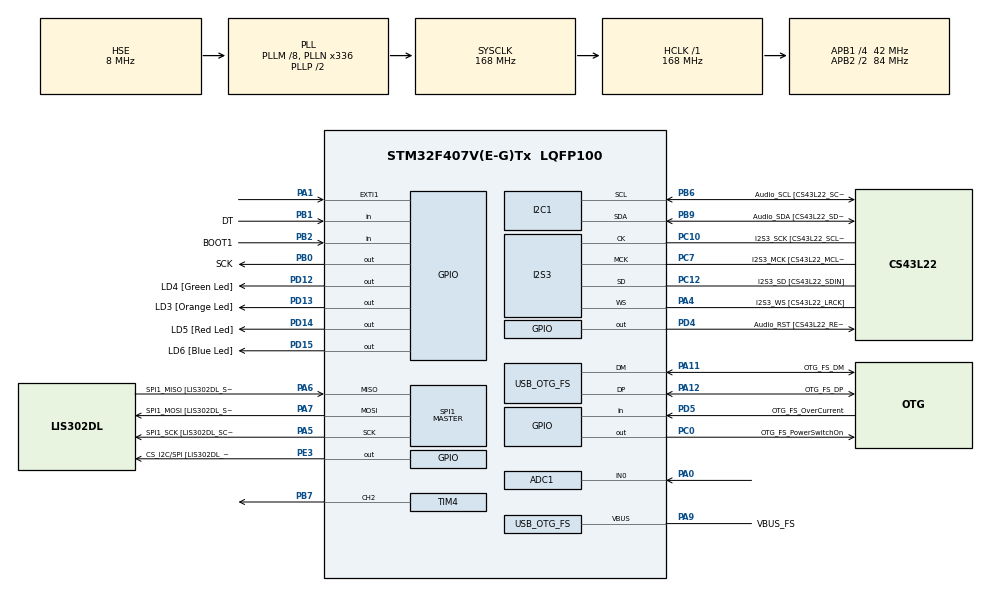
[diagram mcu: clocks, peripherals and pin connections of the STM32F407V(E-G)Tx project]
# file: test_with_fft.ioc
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ADC1.Channel-0\#ChannelRegularConversion=ADC_CHANNEL_0
ADC1.NbrOfConversionFlag=1
ADC1.Rank-0\#ChannelRegularConversion=1
ADC1.SamplingTime-0\#ChannelRegularConversion=ADC_SAMPLETIME_3CYCLES
ADC1.master=1
I2S3.AudioFreq-Half_Duplex_Master=I2S_AUDIOFREQ_96K
I2S3.ErrorAudioFreq=-2.34 %
I2S3.ErrorAudioFreq-Half_Duplex_Master=0.8 %
I2S3.FullDuplexMode=I2S_FULLDUPLEXMODE_DISABLE
I2S3.Instance=SPI$Index
I2S3.RealAudioFreq=93.75 KHz
I2S3.RealAudioFreq-Half_Duplex_Master=96.774 KHz
I2S3.VirtualMode=I2S_MODE_MASTER
Mcu.Family=STM32F4
Mcu.Name=STM32F407V(E-G)Tx
Mcu.Package=LQFP100
NVIC.EXTI1_IRQn=true\:0\:0\:false\:false\:true\:true\:true\:true
NVIC.OTG_FS_IRQn=true\:0\:0\:false\:false\:true\:true\:true\:true
NVIC.PriorityGroup=NVIC_PRIORITYGROUP_0
NVIC.TIM2_IRQn=true\:0\:0\:false\:false\:true\:true\:true\:true
PA0-WKUP.Signal=ADCx_IN0
PA1.Signal=GPXTI1
PA10.GPIO_Label=OTG_FS_ID
PA10.GPIO_Mode=GPIO_MODE_AF_PP
PA10.GPIO_PuPd=GPIO_NOPULL
PA10.GPIO_Speed=GPIO_SPEED_FREQ_LOW
PA10.Signal=USB_OTG_FS_ID
PA11.GPIO_Label=OTG_FS_DM
PA11.GPIO_Mode=GPIO_MODE_AF_PP
PA11.GPIO_PuPd=GPIO_NOPULL
PA11.GPIO_Speed=GPIO_SPEED_FREQ_LOW
PA11.Mode=Device_Only
PA11.Signal=USB_OTG_FS_DM
PA12.GPIO_Label=OTG_FS_DP
PA12.GPIO_Mode=GPIO_MODE_AF_PP
PA12.GPIO_PuPd=GPIO_NOPULL
PA12.GPIO_Speed=GPIO_SPEED_FREQ_LOW
PA12.Mode=Device_Only
PA12.Signal=USB_OTG_FS_DP
PA13.GPIO_Label=SWDIO
PA13.Mode=Serial_Wire
PA13.Signal=SYS_JTMS-SWDIO
PA14.GPIO_Label=SWCLK
PA14.Mode=Serial_Wire
PA14.Signal=SYS_JTCK-SWCLK
PA4.GPIO_Label=I2S3_WS [CS43L22_LRCK]
PA4.GPIO_Mode=GPIO_MODE_AF_PP
PA4.GPIO_PuPd=GPIO_NOPULL
PA4.GPIO_Speed=GPIO_SPEED_FREQ_LOW
PA4.Mode=Half_Duplex_Master
PA4.Signal=I2S3_WS
PA5.GPIO_Label=SPI1_SCK [LIS302DL_SCL/SPC]
PA5.GPIO_Mode=GPIO_MODE_AF_PP
PA5.GPIO_PuPd=GPIO_NOPULL
PA5.GPIO_Speed=GPIO_SPEED_FREQ_LOW
PA5.Mode=Full_Duplex_Master
PA5.Signal=SPI1_SCK
PA6.GPIO_Label=SPI1_MISO [LIS302DL_SDO]
PA6.GPIO_Mode=GPIO_MODE_AF_PP
PA6.GPIO_PuPd=GPIO_NOPULL
PA6.GPIO_Speed=GPIO_SPEED_FREQ_LOW
PA6.Mode=Full_Duplex_Master
PA6.Signal=SPI1_MISO
PA7.GPIO_Label=SPI1_MOSI [LIS302DL_SDA/SDI/SDO]
PA7.GPIO_Mode=GPIO_MODE_AF_PP
PA7.GPIO_PuPd=GPIO_NOPULL
PA7.GPIO_Speed=GPIO_SPEED_FREQ_LOW
PA7.Mode=Full_Duplex_Master
PA7.Signal=SPI1_MOSI
PA9.GPIO_Label=VBUS_FS
PA9.GPIO_Mode=GPIO_MODE_INPUT
PA9.GPIO_PuPd=GPIO_NOPULL
PA9.Mode=Activate_VBUS
PA9.Signal=USB_OTG_FS_VBUS
PB0.GPIO_Label=SCK
PB0.Signal=GPIO_Output
PB1.GPIO_Label=DT
PB1.Signal=GPIO_Input
PB10.GPIO_Label=CLK_IN [MP45DT02_CLK]
PB10.GPIO_Mode=GPIO_MODE_AF_PP
PB10.GPIO_PuPd=GPIO_NOPULL
PB10.GPIO_Speed=GPIO_SPEED_FREQ_LOW
PB10.Signal=I2S2_CK
PB2.GPIO_Label=BOOT1
PB2.GPIO_Mode=GPIO_MODE_INPUT
PB2.GPIO_PuPd=GPIO_NOPULL
PB2.Signal=GPIO_Input
PB3.GPIO_Label=SWO
PB3.Signal=SYS_JTDO-SWO
PB6.GPIO_Label=Audio_SCL [CS43L22_SCL]
PB6.GPIO_Mode=GPIO_MODE_AF_OD
PB6.GPIO_Pu=GPIO_PULLUP
PB6.GPIO_PuPd=GPIO_NOPULL
PB6.GPIO_Speed=GPIO_SPEED_FREQ_LOW
PB6.Mode=I2C
PB6.Signal=I2C1_SCL
PB7.Signal=S_TIM4_CH2
PB9.GPIO_Label=Audio_SDA [CS43L22_SDA]
PB9.GPIO_Mode=GPIO_MODE_AF_OD
PB9.GPIO_Pu=GPIO_PULLUP
PB9.GPIO_PuPd=GPIO_NOPULL
PB9.GPIO_Speed=GPIO_SPEED_FREQ_LOW
PB9.Mode=I2C
PB9.Signal=I2C1_SDA
PC0.GPIO_Label=OTG_FS_PowerSwitchOn
PC0.GPIO_PuPd=GPIO_NOPULL
PC0.GPIO_Speed=GPIO_SPEED_FREQ_LOW
PC0.PinState=GPIO_PIN_SET
PC0.Signal=GPIO_Output
PC10.GPIO_Label=I2S3_SCK [CS43L22_SCLK]
PC10.GPIO_Mode=GPIO_MODE_AF_PP
PC10.GPIO_PuPd=GPIO_NOPULL
PC10.GPIO_Speed=GPIO_SPEED_FREQ_LOW
PC10.Mode=Half_Duplex_Master
PC10.Signal=I2S3_CK
PC12.GPIO_Label=I2S3_SD [CS43L22_SDIN]
PC12.GPIO_Mode=GPIO_MODE_AF_PP
PC12.GPIO_PuPd=GPIO_NOPULL
PC12.GPIO_Speed=GPIO_SPEED_FREQ_LOW
PC12.Mode=Half_Duplex_Master
PC12.Signal=I2S3_SD
PC14-OSC32_IN.GPIO_Label=PC14-OSC32_IN
PC14-OSC32_IN.Mode=LSE-External-Oscillator
PC14-OSC32_IN.Signal=RCC_OSC32_IN
PC15-OSC32_OUT.GPIO_Label=PC15-OSC32_OUT
PC15-OSC32_OUT.Mode=LSE-External-Oscillator
PC15-OSC32_OUT.Signal=RCC_OSC32_OUT
PC3.GPIO_Label=PDM_OUT [MP45DT02_DOUT]
PC3.GPIO_Mode=GPIO_MODE_AF_PP
PC3.GPIO_PuPd=GPIO_NOPULL
PC3.GPIO_Speed=GPIO_SPEED_FREQ_LOW
PC3.Signal=I2S2_SD
PC7.GPIO_Label=I2S3_MCK [CS43L22_MCLK]
PC7.GPIO_Mode=GPIO_MODE_AF_PP
PC7.GPIO_PuPd=GPIO_NOPULL
PC7.GPIO_Speed=GPIO_SPEED_FREQ_LOW
PC7.Mode=Master_Clock_Activated
PC7.Signal=I2S3_MCK
PD12.GPIO_Label=LD4 [Green Led]
PD12.GPIO_PuPd=GPIO_NOPULL
PD12.GPIO_Speed=GPIO_SPEED_FREQ_LOW
PD12.Signal=GPIO_Output
PD13.GPIO_Label=LD3 [Orange Led]
PD13.GPIO_PuPd=GPIO_NOPULL
PD13.GPIO_Speed=GPIO_SPEED_FREQ_LOW
PD13.Signal=GPIO_Output
PD14.GPIO_Label=LD5 [Red Led]
PD14.GPIO_PuPd=GPIO_NOPULL
PD14.GPIO_Speed=GPIO_SPEED_FREQ_LOW
PD14.Signal=GPIO_Output
PD15.GPIO_Label=LD6 [Blue Led]
PD15.GPIO_PuPd=GPIO_NOPULL
PD15.GPIO_Speed=GPIO_SPEED_FREQ_LOW
PD15.Signal=GPIO_Output
PD4.GPIO_Label=Audio_RST [CS43L22_RESET]
PD4.GPIO_PuPd=GPIO_NOPULL
PD4.GPIO_Speed=GPIO_SPEED_FREQ_LOW
PD4.Signal=GPIO_Output
PD5.GPIO_Label=OTG_FS_OverCurrent
PD5.GPIO_Mode=GPIO_MODE_INPUT
PD5.GPIO_PuPd=GPIO_NOPULL
PD5.Signal=GPIO_Input
PE3.GPIO_Label=CS_I2C/SPI [LIS302DL_CS_I2C/SPI]
PE3.GPIO_PuPd=GPIO_NOPULL
PE3.GPIO_Speed=GPIO_SPEED_FREQ_LOW
PE3.Signal=GPIO_Output
PH0-OSC_IN.GPIO_Label=PH0-OSC_IN
PH0-OSC_IN.Mode=HSE-External-Oscillator
PH0-OSC_IN.Signal=RCC_OSC_IN
PH1-OSC_OUT.GPIO_Label=PH1-OSC_OUT
PH1-OSC_OUT.Mode=HSE-External-Oscillator
PH1-OSC_OUT.Signal=RCC_OSC_OUT
ProjectManager.HeapSize=0x200
ProjectManager.StackSize=0x400
ProjectManager.TargetToolchain=STM32CubeIDE
RCC.48MHZClocksFreq_Value=48000000
RCC.AHBFreq_Value=168000000
RCC.APB1CLKDivider=RCC_HCLK_DIV4
RCC.APB1Freq_Value=42000000
RCC.APB1TimFreq_Value=84000000
RCC.APB2CLKDivider=RCC_HCLK_DIV2
RCC.APB2Freq_Value=84000000
RCC.APB2TimFreq_Value=168000000
RCC.CortexFreq_Value=168000000
RCC.HCLKFreq_Value=168000000
RCC.HSE_VALUE=8000000
RCC.HSI_VALUE=16000000
RCC.PLLM=8
RCC.PLLN=336
RCC.PLLQ=7
RCC.SYSCLKFreq_VALUE=168000000
RCC.SYSCLKSource=RCC_SYSCLKSOURCE_PLLCLK
RCC.VCOOutputFreq_Value=336000000
SH.ADCx_IN0.0=ADC1_IN0,IN0
SH.S_TIM4_CH2.0=TIM4_CH2,PWM Generation2 CH2
SPI1.BaudRatePrescaler-Full_Duplex_Master=SPI_BAUDRATEPRESCALER_2
SPI1.CalculateBaudRate-Full_Duplex_Master=42.0 MBits/s
SPI1.Direction=SPI_DIRECTION_2LINES
SPI1.Mode=SPI_MODE_MASTER
SPI1.Mode-Full_Duplex_Master=SPI_MODE_MASTER
SPI1.VirtualType=VM_MASTER
TIM2.Period=9999
TIM2.Prescaler=8399
TIM4.Channel-PWM\ Generation2\ CH2=TIM_CHANNEL_2
TIM4.Period=20000 - 1
TIM4.Prescaler=84 - 1
USB_DEVICE.CLASS_NAME_FS=CDC
USB_DEVICE.PRODUCT_STRING_CDC_FS=STM32 VirtuaPort
USB_DEVICE.VirtualMode-CDC_FS=Cdc
USB_DEVICE.VirtualModeFS=Cdc_FS
USB_OTG_FS.VirtualMode=Device_Only
VP_TIM2_VS_ClockSourceINT.Mode=Internal
VP_USB_DEVICE_VS_USB_DEVICE_CDC_FS.Mode=CDC_FS
board=STM32F407G-DISC1

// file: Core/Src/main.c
/* USER CODE BEGIN Header */

/* USER CODE END Header */
#include "main.h"
#include "usb_device.h"

/* USER CODE BEGIN Includes */
#include <sys/stat.h>
#include <stdint.h>
#include <stdio.h>
#include <math.h>
#include "arm_math.h"  // CMSIS DSP için gerekli
#include <stdlib.h>    // For atoi
#include "usbd_cdc_if.h"

/* USER CODE END Includes */

/* USER CODE BEGIN PD */
#define SAMPLE_COUNT 10  // 10 örnek üzerinden RMS hesaplayacağız
uint32_t vibrationSamples[SAMPLE_COUNT];
float32_t vibrationSamples_f32[SAMPLE_COUNT];  // Float versiyon
float rms_value = 0;  // RMS değeri

volatile uint32_t count = 0;  // RPM sayaç
volatile uint32_t rpm = 0;    // Hesaplanan RPM

uint16_t escPulseWidth = 1000;  // Default ESC pulse width (neutral throttle)
extern uint32_t received_number;
extern uint32_t flagged_number;

float weight = 0;
float thrust = 0;

/* USER CODE END PV */
/* USER CODE END PD */

ADC_HandleTypeDef hadc1;

I2C_HandleTypeDef hi2c1;

I2S_HandleTypeDef hi2s3;

SPI_HandleTypeDef hspi1;

TIM_HandleTypeDef htim2;
TIM_HandleTypeDef htim4;

void SystemClock_Config(void);
static void MX_GPIO_Init(void);
static void MX_I2C1_Init(void);
static void MX_I2S3_Init(void);
static void MX_SPI1_Init(void);
static void MX_ADC1_Init(void);
static void MX_TIM2_Init(void);
static void MX_TIM4_Init(void);
/* USER CODE BEGIN PFP */
uint16_t MapInputToPulseWidth(uint8_t input);
/* USER CODE END PFP */

/* USER CODE BEGIN 0 */

uint16_t MapInputToPulseWidth(uint8_t input)
{
	if (input > 100) input = 100;
	if (input < 0) input = 0;
    return 1100 + (input * 10); // Map 0-100 to 1000-2000 µs
}

int _write(int file, char *ptr, int len)
{
    int DataIdx;
    for (DataIdx = 0; DataIdx < len; DataIdx++)
    {
        ITM_SendChar(*ptr++);
    }
    return len;
}
/*
 Terminalden göndermek için
int _write(int file, char *ptr, int len) {
    uint8_t result;
    do {
        result = CDC_Transmit_FS((uint8_t*)ptr, len); // USB CDC üzerinden gönder
    } while (result == USBD_BUSY); // USB tampon doluysa bekle
    return len;
}
*/

long HX711_Read(void) {
    long count = 0;
    HAL_GPIO_WritePin(SCK_GPIO_Port, SCK_Pin, GPIO_PIN_RESET);  // SCK pinini 0 yapın
    while(HAL_GPIO_ReadPin(DT_GPIO_Port, DT_Pin));  // DT pini 0 olana kadar bekleyin

    for(int i = 0; i < 24; i++) {  // 24 bit veri oku
        HAL_GPIO_WritePin(SCK_GPIO_Port, SCK_Pin, GPIO_PIN_SET);
        count = count << 1;
        HAL_GPIO_WritePin(SCK_GPIO_Port, SCK_Pin, GPIO_PIN_RESET);
        if(HAL_GPIO_ReadPin(DT_GPIO_Port, DT_Pin)) {
            count++;
        }
    }

    HAL_GPIO_WritePin(SCK_GPIO_Port, SCK_Pin, GPIO_PIN_SET);
    count = count ^ 0x800000;  // 24. bit işaret biti olarak kabul edilir, negatif değerler için kullanılır
    HAL_GPIO_WritePin(SCK_GPIO_Port, SCK_Pin, GPIO_PIN_RESET);

    return count;
}

/* USER CODE END 0 */

int main(void)
{

  /* MCU Configuration--------------------------------------------------------*/

  /* Reset of all peripherals, Initializes the Flash interface and the Systick. */
  HAL_Init();

  /* Configure the system clock */
  SystemClock_Config();

  /* Initialize all configured peripherals */
  MX_GPIO_Init();
  MX_I2C1_Init();
  MX_I2S3_Init();
  MX_SPI1_Init();
  MX_ADC1_Init();
  MX_TIM2_Init();
  MX_TIM4_Init();
  MX_USB_DEVICE_Init();
  /* USER CODE BEGIN 2 */
  HAL_TIM_PWM_Start(&htim4, TIM_CHANNEL_2);  // Start PWM for TIM4_CH2 (PB7)

  HAL_ADC_Start(&hadc1);
  HAL_TIM_Base_Start_IT(&htim2);

  long tare = HX711_Read(); // Boş load cell üzerindeyken ham veri oku
  float calibrationFactor = 201.685272;

   // Kalibrasyon adımları
  /*tare = HX711_Read(); // Boş load cell üzerindeyken ham veri oku
   printf("Tare: %ld\n", tare);

   long hamVeri = HX711_Read(); // Kalibrasyon ağırlığı yerleştirildikten sonra ham veriyi oku
   float bilinenAgirlik = 228.45; // Örneğin 228.45 gramlık bir ağırlık

   calibrationFactor = (hamVeri - tare) / bilinenAgirlik;
   printf("Kalibrasyon Faktörü: %.2f\n", calibrationFactor);*/

  /* USER CODE END 2 */

  /* Infinite loop */
  while (1)
  {

    /* USER CODE BEGIN 3 */

		if (flagged_number == 1) {
		  escPulseWidth = MapInputToPulseWidth(received_number);
		  printf("Yeni Gaz Yuzdesi Girildi: %lu\n",received_number);
		  __HAL_TIM_SET_COMPARE(&htim4, TIM_CHANNEL_2, escPulseWidth);
		  flagged_number = 0; // Clear the number after processing
		}

	    // Calculate RMS value
	    float sum = 0;
	    for (int i = 0; i < SAMPLE_COUNT; i++)
	    {
	        HAL_ADC_Start(&hadc1);  // Start ADC
	        HAL_ADC_PollForConversion(&hadc1, HAL_MAX_DELAY);  // Wait for conversion
	        float sample = (float32_t)HAL_ADC_GetValue(&hadc1);  // Get ADC value
	        sum += (sample - rms_value) * (sample - rms_value);  // Incremental RMS calculation
	        rms_value += (sample - rms_value) / SAMPLE_COUNT;  // Moving average
	        HAL_Delay(10);  // Small delay between samples
	    }

	    // Calculate RMS
	    rms_value = sqrt(sum / SAMPLE_COUNT);

	    long rawData = HX711_Read();
	    weight = ((rawData - tare) / calibrationFactor);
	    thrust = (weight / 1000) * 9.81;

	    printf("RMS: %.2f, Weight: %.2f g, Thrust: %.2f N, RPM: %lu\n",
	           rms_value, weight, thrust, rpm);
	  }

  /* USER CODE END 3 */
}

void SystemClock_Config(void)
{
  RCC_OscInitTypeDef RCC_OscInitStruct = {0};
  RCC_ClkInitTypeDef RCC_ClkInitStruct = {0};

  /** Configure the main internal regulator output voltage
  */
  __HAL_RCC_PWR_CLK_ENABLE();
  __HAL_PWR_VOLTAGESCALING_CONFIG(PWR_REGULATOR_VOLTAGE_SCALE1);

  /** Initializes the RCC Oscillators according to the specified parameters
  * in the RCC_OscInitTypeDef structure.
  */
  RCC_OscInitStruct.OscillatorType = RCC_OSCILLATORTYPE_HSE;
  RCC_OscInitStruct.HSEState = RCC_HSE_ON;
  RCC_OscInitStruct.PLL.PLLState = RCC_PLL_ON;
  RCC_OscInitStruct.PLL.PLLSource = RCC_PLLSOURCE_HSE;
  RCC_OscInitStruct.PLL.PLLM = 8;
  RCC_OscInitStruct.PLL.PLLN = 336;
  RCC_OscInitStruct.PLL.PLLP = RCC_PLLP_DIV2;
  RCC_OscInitStruct.PLL.PLLQ = 7;
  if (HAL_RCC_OscConfig(&RCC_OscInitStruct) != HAL_OK)
  {
    Error_Handler();
  }

  /** Initializes the CPU, AHB and APB buses clocks
  */
  RCC_ClkInitStruct.ClockType = RCC_CLOCKTYPE_HCLK|RCC_CLOCKTYPE_SYSCLK
                              |RCC_CLOCKTYPE_PCLK1|RCC_CLOCKTYPE_PCLK2;
  RCC_ClkInitStruct.SYSCLKSource = RCC_SYSCLKSOURCE_PLLCLK;
  RCC_ClkInitStruct.AHBCLKDivider = RCC_SYSCLK_DIV1;
  RCC_ClkInitStruct.APB1CLKDivider = RCC_HCLK_DIV4;
  RCC_ClkInitStruct.APB2CLKDivider = RCC_HCLK_DIV2;

  if (HAL_RCC_ClockConfig(&RCC_ClkInitStruct, FLASH_LATENCY_5) != HAL_OK)
  {
    Error_Handler();
  }
}

static void MX_ADC1_Init(void)
{

  ADC_ChannelConfTypeDef sConfig = {0};

  /** Configure the global features of the ADC (Clock, Resolution, Data Alignment and number of conversion)
  */
  hadc1.Instance = ADC1;
  hadc1.Init.ClockPrescaler = ADC_CLOCK_SYNC_PCLK_DIV4;
  hadc1.Init.Resolution = ADC_RESOLUTION_12B;
  hadc1.Init.ScanConvMode = DISABLE;
  hadc1.Init.ContinuousConvMode = DISABLE;
  hadc1.Init.DiscontinuousConvMode = DISABLE;
  hadc1.Init.ExternalTrigConvEdge = ADC_EXTERNALTRIGCONVEDGE_NONE;
  hadc1.Init.ExternalTrigConv = ADC_SOFTWARE_START;
  hadc1.Init.DataAlign = ADC_DATAALIGN_RIGHT;
  hadc1.Init.NbrOfConversion = 1;
  hadc1.Init.DMAContinuousRequests = DISABLE;
  hadc1.Init.EOCSelection = ADC_EOC_SINGLE_CONV;
  if (HAL_ADC_Init(&hadc1) != HAL_OK)
  {
    Error_Handler();
  }

  /** Configure for the selected ADC regular channel its corresponding rank in the sequencer and its sample time.
  */
  sConfig.Channel = ADC_CHANNEL_0;
  sConfig.Rank = 1;
  sConfig.SamplingTime = ADC_SAMPLETIME_3CYCLES;
  if (HAL_ADC_ConfigChannel(&hadc1, &sConfig) != HAL_OK)
  {
    Error_Handler();
  }

}

static void MX_I2C1_Init(void)
{

  hi2c1.Instance = I2C1;
  hi2c1.Init.ClockSpeed = 100000;
  hi2c1.Init.DutyCycle = I2C_DUTYCYCLE_2;
  hi2c1.Init.OwnAddress1 = 0;
  hi2c1.Init.AddressingMode = I2C_ADDRESSINGMODE_7BIT;
  hi2c1.Init.DualAddressMode = I2C_DUALADDRESS_DISABLE;
  hi2c1.Init.OwnAddress2 = 0;
  hi2c1.Init.GeneralCallMode = I2C_GENERALCALL_DISABLE;
  hi2c1.Init.NoStretchMode = I2C_NOSTRETCH_DISABLE;
  if (HAL_I2C_Init(&hi2c1) != HAL_OK)
  {
    Error_Handler();
  }

}

static void MX_I2S3_Init(void)
{

  hi2s3.Instance = SPI3;
  hi2s3.Init.Mode = I2S_MODE_MASTER_TX;
  hi2s3.Init.Standard = I2S_STANDARD_PHILIPS;
  hi2s3.Init.DataFormat = I2S_DATAFORMAT_16B;
  hi2s3.Init.MCLKOutput = I2S_MCLKOUTPUT_ENABLE;
  hi2s3.Init.AudioFreq = I2S_AUDIOFREQ_96K;
  hi2s3.Init.CPOL = I2S_CPOL_LOW;
  hi2s3.Init.ClockSource = I2S_CLOCK_PLL;
  hi2s3.Init.FullDuplexMode = I2S_FULLDUPLEXMODE_DISABLE;
  if (HAL_I2S_Init(&hi2s3) != HAL_OK)
  {
    Error_Handler();
  }

}

static void MX_SPI1_Init(void)
{

  /* SPI1 parameter configuration*/
  hspi1.Instance = SPI1;
  hspi1.Init.Mode = SPI_MODE_MASTER;
  hspi1.Init.Direction = SPI_DIRECTION_2LINES;
  hspi1.Init.DataSize = SPI_DATASIZE_8BIT;
  hspi1.Init.CLKPolarity = SPI_POLARITY_LOW;
  hspi1.Init.CLKPhase = SPI_PHASE_1EDGE;
  hspi1.Init.NSS = SPI_NSS_SOFT;
  hspi1.Init.BaudRatePrescaler = SPI_BAUDRATEPRESCALER_2;
  hspi1.Init.FirstBit = SPI_FIRSTBIT_MSB;
  hspi1.Init.TIMode = SPI_TIMODE_DISABLE;
  hspi1.Init.CRCCalculation = SPI_CRCCALCULATION_DISABLE;
  hspi1.Init.CRCPolynomial = 10;
  if (HAL_SPI_Init(&hspi1) != HAL_OK)
  {
    Error_Handler();
  }

}

static void MX_TIM2_Init(void)
{

  TIM_ClockConfigTypeDef sClockSourceConfig = {0};
  TIM_MasterConfigTypeDef sMasterConfig = {0};

  htim2.Instance = TIM2;
  htim2.Init.Prescaler = 8399;
  htim2.Init.CounterMode = TIM_COUNTERMODE_UP;
  htim2.Init.Period = 9999;
  htim2.Init.ClockDivision = TIM_CLOCKDIVISION_DIV1;
  htim2.Init.AutoReloadPreload = TIM_AUTORELOAD_PRELOAD_DISABLE;
  if (HAL_TIM_Base_Init(&htim2) != HAL_OK)
  {
    Error_Handler();
  }
  sClockSourceConfig.ClockSource = TIM_CLOCKSOURCE_INTERNAL;
  if (HAL_TIM_ConfigClockSource(&htim2, &sClockSourceConfig) != HAL_OK)
  {
    Error_Handler();
  }
  sMasterConfig.MasterOutputTrigger = TIM_TRGO_RESET;
  sMasterConfig.MasterSlaveMode = TIM_MASTERSLAVEMODE_DISABLE;
  if (HAL_TIMEx_MasterConfigSynchronization(&htim2, &sMasterConfig) != HAL_OK)
  {
    Error_Handler();
  }

}

static void MX_TIM4_Init(void)
{

  TIM_MasterConfigTypeDef sMasterConfig = {0};
  TIM_OC_InitTypeDef sConfigOC = {0};

  htim4.Instance = TIM4;
  htim4.Init.Prescaler = 84 - 1;
  htim4.Init.CounterMode = TIM_COUNTERMODE_UP;
  htim4.Init.Period = 20000 - 1;
  htim4.Init.ClockDivision = TIM_CLOCKDIVISION_DIV1;
  htim4.Init.AutoReloadPreload = TIM_AUTORELOAD_PRELOAD_DISABLE;
  if (HAL_TIM_PWM_Init(&htim4) != HAL_OK)
  {
    Error_Handler();
  }
  sMasterConfig.MasterOutputTrigger = TIM_TRGO_RESET;
  sMasterConfig.MasterSlaveMode = TIM_MASTERSLAVEMODE_DISABLE;
  if (HAL_TIMEx_MasterConfigSynchronization(&htim4, &sMasterConfig) != HAL_OK)
  {
    Error_Handler();
  }
  sConfigOC.OCMode = TIM_OCMODE_PWM1;
  sConfigOC.Pulse = escPulseWidth;
  sConfigOC.OCPolarity = TIM_OCPOLARITY_HIGH;
  sConfigOC.OCFastMode = TIM_OCFAST_DISABLE;
  if (HAL_TIM_PWM_ConfigChannel(&htim4, &sConfigOC, TIM_CHANNEL_2) != HAL_OK)
  {
    Error_Handler();
  }
  HAL_TIM_MspPostInit(&htim4);

}

static void MX_GPIO_Init(void)
{
  GPIO_InitTypeDef GPIO_InitStruct = {0};

  /* GPIO Ports Clock Enable */
  __HAL_RCC_GPIOE_CLK_ENABLE();
  __HAL_RCC_GPIOC_CLK_ENABLE();
  __HAL_RCC_GPIOH_CLK_ENABLE();
  __HAL_RCC_GPIOA_CLK_ENABLE();
  __HAL_RCC_GPIOB_CLK_ENABLE();
  __HAL_RCC_GPIOD_CLK_ENABLE();

  /*Configure GPIO pin Output Level */
  HAL_GPIO_WritePin(CS_I2C_SPI_GPIO_Port, CS_I2C_SPI_Pin, GPIO_PIN_RESET);

  /*Configure GPIO pin Output Level */
  HAL_GPIO_WritePin(OTG_FS_PowerSwitchOn_GPIO_Port, OTG_FS_PowerSwitchOn_Pin, GPIO_PIN_SET);

  /*Configure GPIO pin Output Level */
  HAL_GPIO_WritePin(SCK_GPIO_Port, SCK_Pin, GPIO_PIN_RESET);

  /*Configure GPIO pin Output Level */
  HAL_GPIO_WritePin(GPIOD, LD4_Pin|LD3_Pin|LD5_Pin|LD6_Pin
                          |Audio_RST_Pin, GPIO_PIN_RESET);

  /*Configure GPIO pin : CS_I2C_SPI_Pin */
  GPIO_InitStruct.Pin = CS_I2C_SPI_Pin;
  GPIO_InitStruct.Mode = GPIO_MODE_OUTPUT_PP;
  GPIO_InitStruct.Pull = GPIO_NOPULL;
  GPIO_InitStruct.Speed = GPIO_SPEED_FREQ_LOW;
  HAL_GPIO_Init(CS_I2C_SPI_GPIO_Port, &GPIO_InitStruct);

  /*Configure GPIO pin : OTG_FS_PowerSwitchOn_Pin */
  GPIO_InitStruct.Pin = OTG_FS_PowerSwitchOn_Pin;
  GPIO_InitStruct.Mode = GPIO_MODE_OUTPUT_PP;
  GPIO_InitStruct.Pull = GPIO_NOPULL;
  GPIO_InitStruct.Speed = GPIO_SPEED_FREQ_LOW;
  HAL_GPIO_Init(OTG_FS_PowerSwitchOn_GPIO_Port, &GPIO_InitStruct);

  /*Configure GPIO pin : PDM_OUT_Pin */
  GPIO_InitStruct.Pin = PDM_OUT_Pin;
  GPIO_InitStruct.Mode = GPIO_MODE_AF_PP;
  GPIO_InitStruct.Pull = GPIO_NOPULL;
  GPIO_InitStruct.Speed = GPIO_SPEED_FREQ_LOW;
  GPIO_InitStruct.Alternate = GPIO_AF5_SPI2;
  HAL_GPIO_Init(PDM_OUT_GPIO_Port, &GPIO_InitStruct);

  /*Configure GPIO pin : PA1 */
  GPIO_InitStruct.Pin = GPIO_PIN_1;
  GPIO_InitStruct.Mode = GPIO_MODE_IT_RISING;
  GPIO_InitStruct.Pull = GPIO_NOPULL;
  HAL_GPIO_Init(GPIOA, &GPIO_InitStruct);

  /*Configure GPIO pin : SCK_Pin */
  GPIO_InitStruct.Pin = SCK_Pin;
  GPIO_InitStruct.Mode = GPIO_MODE_OUTPUT_PP;
  GPIO_InitStruct.Pull = GPIO_NOPULL;
  GPIO_InitStruct.Speed = GPIO_SPEED_FREQ_LOW;
  HAL_GPIO_Init(SCK_GPIO_Port, &GPIO_InitStruct);

  /*Configure GPIO pins : DT_Pin BOOT1_Pin */
  GPIO_InitStruct.Pin = DT_Pin|BOOT1_Pin;
  GPIO_InitStruct.Mode = GPIO_MODE_INPUT;
  GPIO_InitStruct.Pull = GPIO_NOPULL;
  HAL_GPIO_Init(GPIOB, &GPIO_InitStruct);

  /*Configure GPIO pin : CLK_IN_Pin */
  GPIO_InitStruct.Pin = CLK_IN_Pin;
  GPIO_InitStruct.Mode = GPIO_MODE_AF_PP;
  GPIO_InitStruct.Pull = GPIO_NOPULL;
  GPIO_InitStruct.Speed = GPIO_SPEED_FREQ_LOW;
  GPIO_InitStruct.Alternate = GPIO_AF5_SPI2;
  HAL_GPIO_Init(CLK_IN_GPIO_Port, &GPIO_InitStruct);

  /*Configure GPIO pins : LD4_Pin LD3_Pin LD5_Pin LD6_Pin
                           Audio_RST_Pin */
  GPIO_InitStruct.Pin = LD4_Pin|LD3_Pin|LD5_Pin|LD6_Pin
                          |Audio_RST_Pin;
  GPIO_InitStruct.Mode = GPIO_MODE_OUTPUT_PP;
  GPIO_InitStruct.Pull = GPIO_NOPULL;
  GPIO_InitStruct.Speed = GPIO_SPEED_FREQ_LOW;
  HAL_GPIO_Init(GPIOD, &GPIO_InitStruct);

  /*Configure GPIO pin : OTG_FS_OverCurrent_Pin */
  GPIO_InitStruct.Pin = OTG_FS_OverCurrent_Pin;
  GPIO_InitStruct.Mode = GPIO_MODE_INPUT;
  GPIO_InitStruct.Pull = GPIO_NOPULL;
  HAL_GPIO_Init(OTG_FS_OverCurrent_GPIO_Port, &GPIO_InitStruct);

  /* EXTI interrupt init*/
  HAL_NVIC_SetPriority(EXTI1_IRQn, 0, 0);
  HAL_NVIC_EnableIRQ(EXTI1_IRQn);

}

/* USER CODE BEGIN 4 */

void HAL_GPIO_EXTI_Callback(uint16_t GPIO_Pin)
{
    if (GPIO_Pin == GPIO_PIN_1) // PA1 pininden gelen kesme
    {
        count++; // Her pervane geçişinde sayaç artar
    }
}
void HAL_TIM_PeriodElapsedCallback(TIM_HandleTypeDef *htim)
{
    if (htim->Instance == TIM2) // TIM2 kesmesi
    {
        rpm = (count * 60); // 1 saniyede count kadar geçiş, 60 saniyede RPM
        count = 0; // Sayaç sıfırlanır

    }
}
/* USER CODE END 4 */

void Error_Handler(void)
{
  __disable_irq();
  while (1)
  {
  }
}
